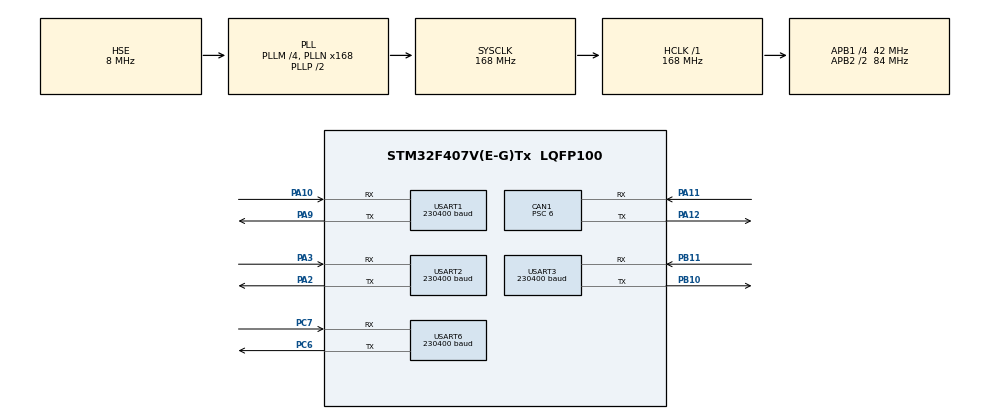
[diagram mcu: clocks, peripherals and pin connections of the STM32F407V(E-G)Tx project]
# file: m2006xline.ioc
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CAN1.BS1=CAN_BS1_5TQ
CAN1.CalculateBaudRate=1000000
CAN1.CalculateTimeBit=1000
CAN1.CalculateTimeQuantum=142.85714285714286
CAN1.Prescaler=6
Mcu.Family=STM32F4
Mcu.Name=STM32F407V(E-G)Tx
Mcu.Package=LQFP100
NVIC.CAN1_RX0_IRQn=true\:0\:0\:true\:false\:true\:true\:true\:true
NVIC.PriorityGroup=NVIC_PRIORITYGROUP_4
NVIC.USART1_IRQn=true\:0\:0\:false\:false\:true\:true\:true\:true
NVIC.USART2_IRQn=true\:0\:0\:false\:false\:true\:true\:true\:true
NVIC.USART3_IRQn=true\:0\:0\:false\:false\:true\:true\:true\:true
NVIC.USART6_IRQn=true\:0\:0\:false\:false\:true\:true\:true\:true
PA10.Mode=Asynchronous
PA10.Signal=USART1_RX
PA11.Mode=CAN_Activate
PA11.Signal=CAN1_RX
PA12.Mode=CAN_Activate
PA12.Signal=CAN1_TX
PA13.Mode=Serial_Wire
PA13.Signal=SYS_JTMS-SWDIO
PA14.Mode=Serial_Wire
PA14.Signal=SYS_JTCK-SWCLK
PA2.Mode=Asynchronous
PA2.Signal=USART2_TX
PA3.Mode=Asynchronous
PA3.Signal=USART2_RX
PA9.Mode=Asynchronous
PA9.Signal=USART1_TX
PB10.Mode=Asynchronous
PB10.Signal=USART3_TX
PB11.Mode=Asynchronous
PB11.Signal=USART3_RX
PC6.Mode=Asynchronous
PC6.Signal=USART6_TX
PC7.Mode=Asynchronous
PC7.Signal=USART6_RX
PH0-OSC_IN.Mode=HSE-External-Oscillator
PH0-OSC_IN.Signal=RCC_OSC_IN
PH1-OSC_OUT.Mode=HSE-External-Oscillator
PH1-OSC_OUT.Signal=RCC_OSC_OUT
ProjectManager.HeapSize=0x200
ProjectManager.StackSize=0x400
ProjectManager.TargetToolchain=Makefile
RCC.48MHZClocksFreq_Value=84000000
RCC.AHBFreq_Value=168000000
RCC.APB1CLKDivider=RCC_HCLK_DIV4
RCC.APB1Freq_Value=42000000
RCC.APB1TimFreq_Value=84000000
RCC.APB2CLKDivider=RCC_HCLK_DIV2
RCC.APB2Freq_Value=84000000
RCC.APB2TimFreq_Value=168000000
RCC.CortexFreq_Value=168000000
RCC.HCLKFreq_Value=168000000
RCC.HSE_VALUE=8000000
RCC.HSI_VALUE=16000000
RCC.LSE_VALUE=32768
RCC.PLLM=4
RCC.PLLN=168
RCC.PLLSourceVirtual=RCC_PLLSOURCE_HSE
RCC.SYSCLKFreq_VALUE=168000000
RCC.SYSCLKSource=RCC_SYSCLKSOURCE_PLLCLK
RCC.VCOOutputFreq_Value=336000000
USART1.BaudRate=230400
USART1.VirtualMode=VM_ASYNC
USART2.BaudRate=230400
USART2.VirtualMode=VM_ASYNC
USART3.BaudRate=230400
USART3.VirtualMode=VM_ASYNC
USART6.BaudRate=230400
USART6.VirtualMode=VM_ASYNC
board=custom

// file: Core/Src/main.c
/* USER CODE BEGIN Header */
/**
  ******************************************************************************
  * @file           : main.c
  * @brief          : Main program body
  ******************************************************************************
  * @attention
  *
  * Copyright (c) 2025 STMicroelectronics.
  * All rights reserved.
  *
  * This software is licensed under terms that can be found in the LICENSE file
  * in the root directory of this software component.
  * If no LICENSE file comes with this software, it is provided AS-IS.
  *
  ******************************************************************************
  */
/* USER CODE END Header */
#include "main.h"
#include "can.h"
#include "usart.h"
#include "gpio.h"

/* USER CODE BEGIN Includes */
#include "Caculate.h"
#include "DJI.h"
#include "wtr_can.h"
#include "usart_receive.h"
#include "retarget.h"
#include "math.h"
/* USER CODE END Includes */

void SystemClock_Config(void);

int main(void)
{

  /* MCU Configuration--------------------------------------------------------*/

  /* Reset of all peripherals, Initializes the Flash interface and the Systick. */
  HAL_Init();

  /* Configure the system clock */
  SystemClock_Config();

  /* Initialize all configured peripherals */
  MX_GPIO_Init();
  MX_CAN1_Init();
  MX_USART1_UART_Init();
  MX_USART2_UART_Init();
  MX_USART3_UART_Init();
  MX_USART6_UART_Init();
  /* USER CODE BEGIN 2 */

  HAL_UART_Receive_IT(&huart1, usart1_rx, 1);
  HAL_UART_Receive_IT(&huart2, usart2_rx, 1);
  HAL_UART_Receive_IT(&huart6, usart6_rx, 1);
  CANFilterInit(&hcan1);
  RetargetInit(&huart3);
  hDJI[2].motorType = M3508;
  hDJI[3].motorType = M3508;//2006

  //hDJI[1].motorType = M2006 ;
  // hDJI[0].motorType = M2006 ;
  // hDJI[1].motorType = M2006 ;
  DJI_Init();
  pid_reset(&(hDJI[3].posPID),8.0,0,0);
  pid_reset(&(hDJI[2].posPID),-8.0,0,0);
  HAL_Delay(3000);
  /* USER CODE END 2 */

  /* Infinite loop */
  /* USER CODE BEGIN WHILE */
  while (1)
  {

    STP_23L_Decode(Rxbuffer_1, &Lidar1);
    STP_23L_Decode(Rxbuffer_6, &Lidar6);
    jihuangpositionServo(250,&hDJI[3],&Lidar1);
    jihuangpositionServo(250,&hDJI[2],&Lidar6);

    // CanTransmit_DJI_1234(&hcan1,
    //                          hDJI[0].speedPID.output,
    //                          hDJI[1].speedPID.output,
    //                         0,
    //                         0);

    // CanTransmit_DJI_1234(&hcan1,
    //                          0,
    //                          0,
    //                         0,
    //                         0);
    CanTransmit_DJI_1234(&hcan1,
                             0,
                             0,
                            hDJI[2].speedPID.output,
                            hDJI[3].speedPID.output);

    //printf("%f,%f\n",hDJI[3].posPID.output,hDJI[3].speedPID.output);
    printf("%f,%f\n",Lidar1.distance_aver,Lidar6.distance_aver);
    printf("%f,%f\n",hDJI[2].posPID.output,hDJI[2].speedPID.output);
    printf("%f,%f\n",hDJI[3].posPID.output,hDJI[3].speedPID.output);
    HAL_Delay(1);
    /* USER CODE END WHILE */

  }
}

void SystemClock_Config(void)
{
  RCC_OscInitTypeDef RCC_OscInitStruct = {0};
  RCC_ClkInitTypeDef RCC_ClkInitStruct = {0};

  /** Configure the main internal regulator output voltage
  */
  __HAL_RCC_PWR_CLK_ENABLE();
  __HAL_PWR_VOLTAGESCALING_CONFIG(PWR_REGULATOR_VOLTAGE_SCALE1);

  /** Initializes the RCC Oscillators according to the specified parameters
  * in the RCC_OscInitTypeDef structure.
  */
  RCC_OscInitStruct.OscillatorType = RCC_OSCILLATORTYPE_HSE;
  RCC_OscInitStruct.HSEState = RCC_HSE_ON;
  RCC_OscInitStruct.PLL.PLLState = RCC_PLL_ON;
  RCC_OscInitStruct.PLL.PLLSource = RCC_PLLSOURCE_HSE;
  RCC_OscInitStruct.PLL.PLLM = 4;
  RCC_OscInitStruct.PLL.PLLN = 168;
  RCC_OscInitStruct.PLL.PLLP = RCC_PLLP_DIV2;
  RCC_OscInitStruct.PLL.PLLQ = 4;
  if (HAL_RCC_OscConfig(&RCC_OscInitStruct) != HAL_OK)
  {
    Error_Handler();
  }

  /** Initializes the CPU, AHB and APB buses clocks
  */
  RCC_ClkInitStruct.ClockType = RCC_CLOCKTYPE_HCLK|RCC_CLOCKTYPE_SYSCLK
                              |RCC_CLOCKTYPE_PCLK1|RCC_CLOCKTYPE_PCLK2;
  RCC_ClkInitStruct.SYSCLKSource = RCC_SYSCLKSOURCE_PLLCLK;
  RCC_ClkInitStruct.AHBCLKDivider = RCC_SYSCLK_DIV1;
  RCC_ClkInitStruct.APB1CLKDivider = RCC_HCLK_DIV4;
  RCC_ClkInitStruct.APB2CLKDivider = RCC_HCLK_DIV2;

  if (HAL_RCC_ClockConfig(&RCC_ClkInitStruct, FLASH_LATENCY_5) != HAL_OK)
  {
    Error_Handler();
  }
}

void Error_Handler(void)
{
  __disable_irq();
  while (1)
  {
  }
}
